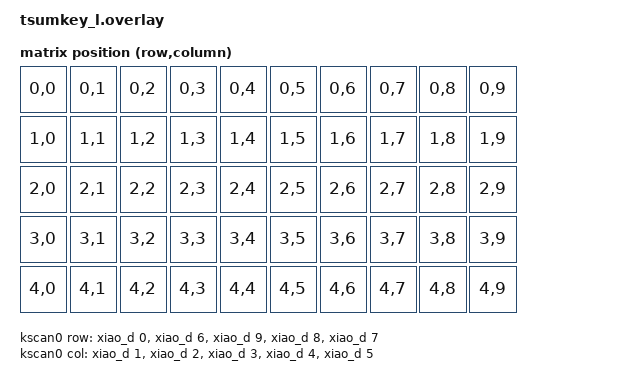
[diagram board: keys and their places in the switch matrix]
/* 左側（peripheral） */
#include "tsumkey.dtsi"
#include <dt-bindings/zmk/matrix_transform.h>
#include <zephyr/dt-bindings/gpio/gpio.h>

&{/chosen} {
    zmk,kscan = &kscan0;
    zmk,matrix-transform = &left_transform;
};

 / {
     kscan0: kscan {
         compatible = "zmk,kscan-gpio-matrix";
         label = "KSCAN";
         diode-direction = "col2row";
         /* 実機の配線順そのまま（以前のまま） */
         row-gpios = <&xiao_d 0 (GPIO_PULL_DOWN)>,
                     <&xiao_d 6 (GPIO_PULL_DOWN)>,
                     <&xiao_d 9 (GPIO_PULL_DOWN)>,
                     <&xiao_d 8 (GPIO_PULL_DOWN)>,
                     <&xiao_d 7 (GPIO_PULL_DOWN)>;
         col-gpios = <&xiao_d 1 0>,
                     <&xiao_d 2 0>,
                     <&xiao_d 3 0>,
                     <&xiao_d 4 0>,
                     <&xiao_d 5 0>;
     };

     left_transform: keymap_transform_left {
         compatible = "zmk,matrix-transform";
         columns = <10>;
         rows = <5>;
         map = <
             RC(0,0) RC(0,1) RC(0,2) RC(0,3) RC(0,4) RC(0,5) RC(0,6) RC(0,7) RC(0,8) RC(0,9)
             RC(1,0) RC(1,1) RC(1,2) RC(1,3) RC(1,4) RC(1,5) RC(1,6) RC(1,7) RC(1,8) RC(1,9)
             RC(2,0) RC(2,1) RC(2,2) RC(2,3) RC(2,4) RC(2,5) RC(2,6) RC(2,7) RC(2,8) RC(2,9)
             RC(3,0) RC(3,1) RC(3,2) RC(3,3) RC(3,4) RC(3,5) RC(3,6) RC(3,7) RC(3,8) RC(3,9)
             RC(4,0) RC(4,1) RC(4,2) RC(4,3) RC(4,4) RC(4,5) RC(4,6) RC(4,7) RC(4,8) RC(4,9)
         >;
     };
};
